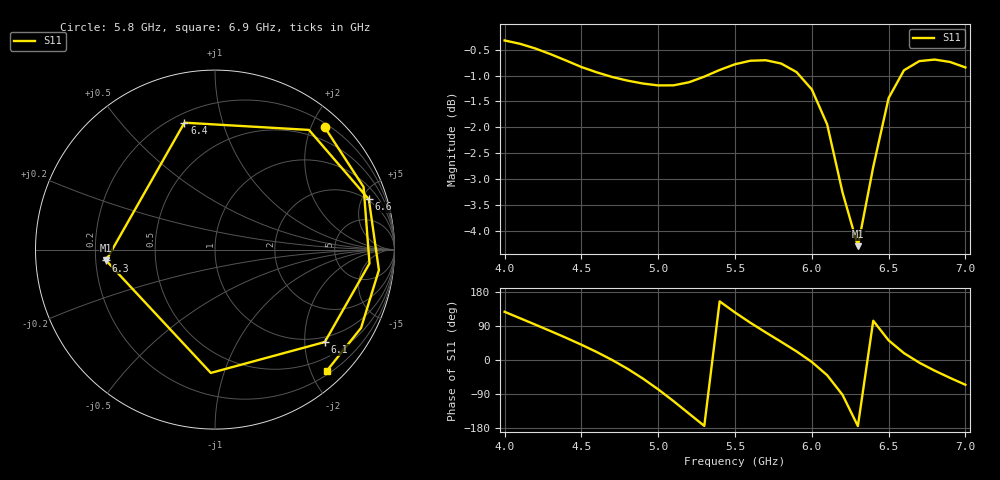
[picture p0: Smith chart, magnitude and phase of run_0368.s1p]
! Touchstone file exported from HFSS 2024.2.0
!  File:  C:/Users/wsak9/Desktop/Sim Fast/Widenad Patch/WP_AI_V1_sweep.aedt
!  Generated:  06:40:42 AM Oct 14, 2026
!  Design:  A1_model
!  Project:  WP_AI_V1_sweep
!  Setup:  Setup1
!  Solution:  Sweep
! Variables:
!  Air_gap = 3.96mm
!  Curve_Amp1 = 2.53
!  Curve_len1 = 1
!  Curve_pos = 9.86mm
!  Extra = 2.67mm
!  H_sub = 0.79mm
!  L_Patch = 15.72mm
!  L_Patch1 = 17.09mm
!  Sx = 4.75mm
!  Sy = 0.76mm
!  WS = 1.29mm
!  W_Patch = 12.14mm
!  W_Patch1 = 14.42mm
!Data is not renormalized
# GHz S MA
! Terminal data exported
! Port[1] = 1
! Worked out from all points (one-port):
!   31 points, 4 GHz to 7 GHz, reference per port
!   lowest |S11| = -4.3 dB at 6.3 GHz (marker M1), VSWR 4.13
!   |S11| at or under -10 dB: nowhere
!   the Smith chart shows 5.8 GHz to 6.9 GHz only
!   S11 on the Smith chart (normalised r, x): 5.8 GHz: 0.26, +2.21; 6.1 GHz: 0.87, -2.48; 6.3 GHz: 0.24, -0.05; 6.4 GHz: 0.25, +0.76; 6.6 GHz: 1.89, +5.66; 6.9 GHz: 0.26, -2.26
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4  0.9636 127.2
4.2  0.9465 93.3
4.4  0.9215 58.6
4.6  0.8976 21.0
4.7  0.8884 0.0
4.8  0.8813 -23.1
4.9  0.8756 -48.9
5  0.8719 -77.5
5.1  0.8721 -108.6
5.2  0.878 -141.3
5.3  0.8891 -173.9
5.4  0.9023 154.7
5.5  0.9139 125.4
5.6  0.9211 98.3
5.7  0.9221 72.8
5.8  0.9155 48.1
5.9  0.8983 22.8
6  0.8643 -5.1
6.1  0.7996 -40.1
6.2  0.6875 -91.9
6.3  0.61 -174.3
6.4  0.7273 103.5
6.5  0.8477 51.9
6.6  0.9017 18.1
6.7  0.9203 -7.1
6.8  0.9235 -28.2
6.9  0.9186 -47.2
7  0.9075 -65.4
